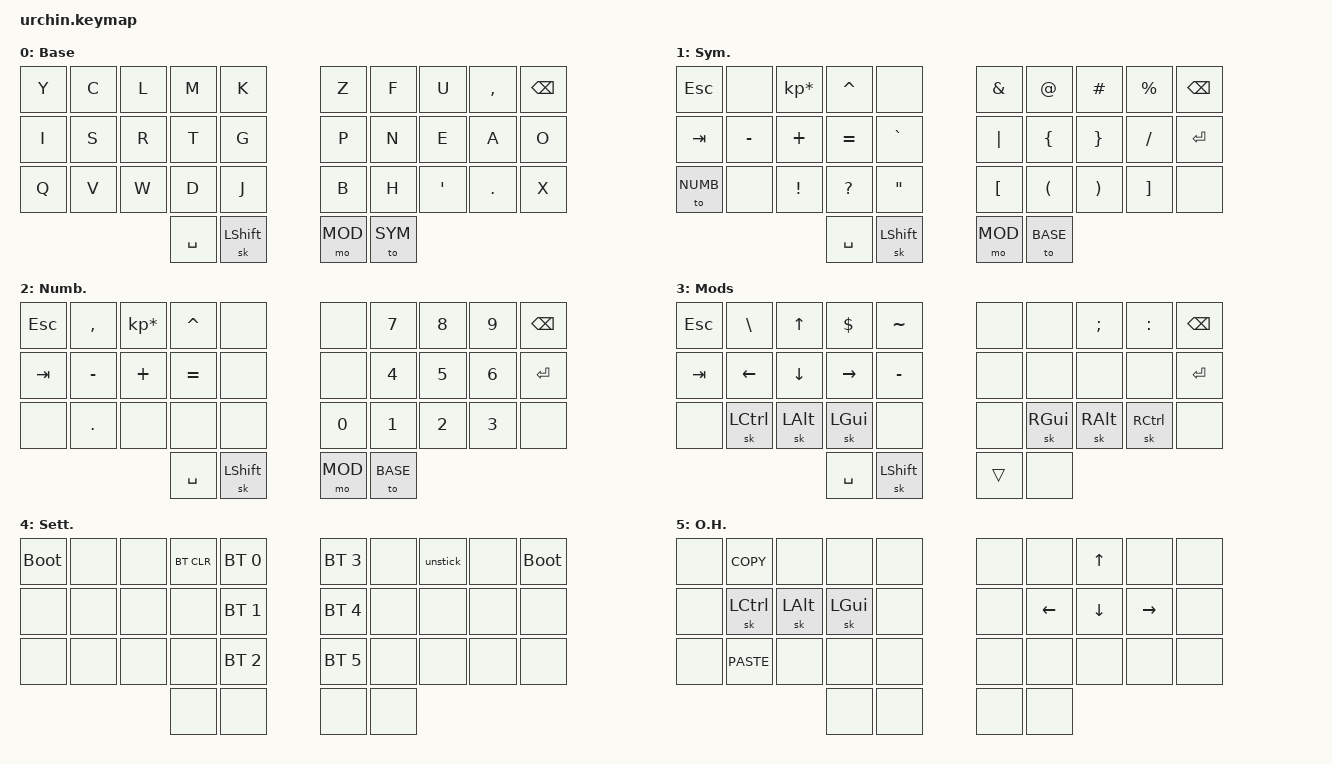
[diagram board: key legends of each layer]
/*
 * Copyright (c) 2023 Moritz Gleissner
 *
 * SPDX-License-Identifier: MIT
 */

#include <behaviors.dtsi>
#include <dt-bindings/zmk/keys.h>
#include <dt-bindings/zmk/bt.h>
#include <dt-bindings/zmk/outputs.h>

// Layer definitions
#define BASE 0
#define SYM 1
#define NUMB 2
#define MOD 3
#define SETTINGS 4
#define ONE_HANDER 5
// -----------------

&sk {
	// don't release mods on other mods presses
	ignore-modifiers;
};


/ {
	behaviors {
		// Enables holding the first mod-tap key
		// by performing a tap-release-hold sequence.
		// To use it: "&qt KEYCODE1 KEYCODE2"
		qt: quick_tap {
			compatible = "zmk,behavior-hold-tap";
			label = "QUICK_TAP";
			#binding-cells = <2>;
			flavor = "hold-preferred";
			tapping-term-ms = <200>;
			quick-tap-ms = <200>;
			bindings = <&kp>, <&kp>;
		};
	};

	macros {
		// sometimes my device thinks a modifier is being held down
		// pressing all modifiers fixes it.
		unstick: unstick {
			label = "ZM_unstick";
			compatible = "zmk,behavior-macro";
			#binding-cells = <0>;
			bindings = <&kp LSHIFT &kp RSHIFT &kp LCTRL &kp RCTRL &kp LALT &kp RALT &kp LGUI &kp RGUI>;
		};
	};

	combos {
		compatible = "zmk,combos";
		// both left thumb keys
		combo_one_hander_left {
			timeout-ms = <200>;
			key-positions = <30 31>;
			bindings = <&tog ONE_HANDER>;
		};

    // both right thumb keys
		combo_one_hander_right {
			timeout-ms = <200>;
			key-positions = <32 33>;
			bindings = <&tog ONE_HANDER>;
		};

    // both left and right thumb keys
		combo_settings {
			timeout-ms = <200>;
			key-positions = <30 31 32 33>;
			bindings = <&mo SETTINGS>;
		};
	};

	keymap {
		compatible = "zmk,keymap";
		// Base alpha layer
		default_layer {
			label = "Base";
			bindings = <
			&kp Y &kp C &kp L &kp M &kp K                           &kp Z &kp F &kp U            &kp COMMA &kp BSPC
			&kp I &kp S &kp R &kp T &kp G                           &kp P &kp N &kp E            &kp A     &kp O
			&kp Q &kp V &kp W &kp D &kp J                           &kp B &kp H &kp SINGLE_QUOTE &kp DOT   &kp X
							        &kp SPACE &sk LSHIFT    &mo MOD &to SYM
			>;
		};

		// High frequency symbols
		sym_layer {
			label = "Sym.";
			bindings = <
			&kp ESCAPE &none     &kp KP_MULTIPLY &kp CARET    &none		                            &kp AMPERSAND    &kp AT_SIGN          &kp HASH              &kp PERCENT       &kp BSPC
			&kp TAB    &kp MINUS &kp PLUS        &kp EQUAL    &kp GRAVE                             &kp PIPE         &kp LEFT_BRACE       &kp RIGHT_BRACE       &kp SLASH         &kp RET
			&to NUMB   &none     &kp EXCLAMATION &kp QUESTION &kp DOUBLE_QUOTES 	                &kp LEFT_BRACKET &kp LEFT_PARENTHESIS &kp RIGHT_PARENTHESIS &kp RIGHT_BRACKET &none
													 	      &kp SPACE  &sk LSHIFT         &mo MOD &to BASE
			>;
		};

	    // Everything numbers
		fnc_layer {
			label = "Numb.";
			bindings = <
			&kp ESCAPE &kp COMMA  &kp KP_MULTIPLY &kp CARET &none                               &none  &kp N7 &kp N8 &kp N9 &kp BSPC
			&kp TAB    &kp MINUS  &kp PLUS        &kp EQUAL &none                               &none  &kp N4 &kp N5 &kp N6 &kp RET
			&none      &kp PERIOD &none           &none     &none				                &kp N0 &kp N1 &kp N2 &kp N3 &none
							                               &kp SPACE  &sk LSHIFT              &mo MOD &to BASE
			>;
		};

        // Main modifiers, arrow keys and important symbols
		mod_layer {
			label = "Mods";
			bindings = <
			&kp ESCAPE &kp BACKSLASH &kp UP   &kp DOLLAR &kp TILDE		                         &none &none    &kp SEMICOLON  &kp COLON   &kp BSPC
			&kp TAB    &kp LEFT      &kp DOWN &kp RIGHT  &kp MINUS                               &none &none    &none          &none       &kp RET
			&none      &sk LCTRL     &sk LALT &sk LGUI   &none 	                                 &none &sk RGUI &sk RALT       &sk RCTRL   &none
									                     &kp SPACE  &sk LSHIFT            &trans &none
			>;
		};


		// Used to change the keyboard's settings.
		settings_layer {
				label = "Sett.";
				bindings = <
				&bootloader &none &none &bt BT_CLR &bt BT_SEL 0                                 &bt BT_SEL 3 &none &unstick &none &bootloader
				&none       &none &none &none      &bt BT_SEL 1 						        &bt BT_SEL 4 &none &none &none &none
				&none       &none &none &none      &bt BT_SEL 2                                 &bt BT_SEL 5 &none &none &none &none
				                						&none &none                         &none &none
				>;
		};

		// Used for one hand use.
		one_hander_layer {
				label = "O.H.";
				bindings = <
				&none &kp K_COPY &none &none &none              &none &none &kp UP &none &none
				&none &sk LCTRL &sk LALT &sk LGUI &none              &none &kp LEFT &kp DOWN &kp RIGHT &none
				&none &kp K_PASTE &none &none &none              &none &none &none &none &none
				                			&none &none       &none &none
				>;
		};
	};
};
